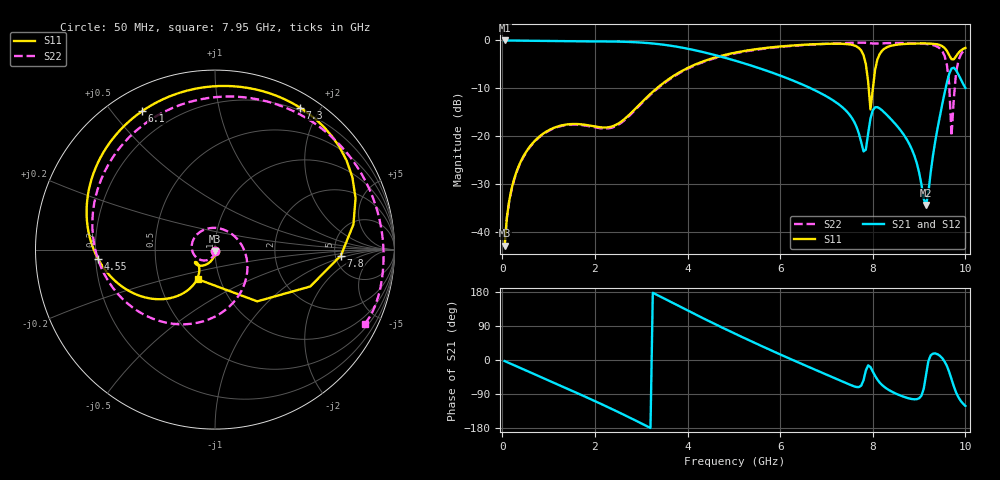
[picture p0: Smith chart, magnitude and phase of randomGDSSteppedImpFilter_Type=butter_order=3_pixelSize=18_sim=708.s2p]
! freq	dB(S11)	phase(S11)	dB(S12)	phase(S12)
!  dB(S21)	phase(S21)	dB(S22)	phase(S22)
!S-par simulation data
#  GHz  S  DB  R 50
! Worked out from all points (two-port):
!   200 points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, 50 MHz to 10 GHz, reference 50 ohm
!   highest |S21| = -0.02 dB at 50 MHz (marker M1); lowest = -34.3 dB at 9.15 GHz (marker M2)
!   |S21| within 3 dB of the highest: start of sweep to 4.575 GHz
!   lowest |S11| = -42.8 dB at 50 MHz (marker M3), VSWR 1.01, Z = 50.1 - j0.71 ohm
!   |S11| at or under -10 dB: start of sweep to 3.335 GHz; 7.912 GHz to 8.004 GHz (91.83 MHz wide, 1.15 % of centre)
!   |S22| runs from -42.9 to -0.5 dB; largest |S21 - S12| = 0
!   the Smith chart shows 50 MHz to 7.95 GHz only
!   S11 on the Smith chart (normalised r, x): 50 MHz: 1.00, -0.01; 4.55 GHz: 0.21, -0.04; 6.1 GHz: 0.09, +0.60; 7.3 GHz: 0.17, +1.75; 7.8 GHz: 5.61, -0.73; 7.95 GHz: 0.79, -0.27
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0.05  -42.82 -78.5  -0.02 -2.8  -0.02 -2.8  -42.90 -79.6
0.2  -30.99 -93.8  -0.04 -10.9  -0.04 -10.9  -31.10 -99.0
0.5  -23.46 -109.1  -0.07 -27.1  -0.07 -27.1  -23.58 -122.4
1.75  -17.55 -147.6  -0.20 -94.6  -0.20 -94.6  -17.69 137.7
2.7  -15.88 -123.8  -0.31 -149.0  -0.31 -149.0  -16.11 4.1
3.4  -9.48 -129.3  -0.81 168.1  -0.81 168.1  -9.65 -76.5
4.55  -3.70 -175.4  -2.96 97.3  -2.96 97.3  -3.84 -171.3
5.05  -2.52 162.9  -4.29 68.0  -4.29 68.0  -2.65 152.0
6.1  -1.19 117.7  -7.70 9.3  -7.70 9.3  -1.28 79.8
6.7  -0.82 90.8  -10.17 -22.7  -10.17 -22.7  -0.86 42.1
7.3  -0.70 59.1  -13.59 -54.3  -13.59 -54.3  -0.60 7.8
7.8  -3.07 -2.7  -23.14 -53.7  -23.14 -53.7  -0.48 -18.7
7.95  -14.39 -119.9  -16.30 -18.6  -16.30 -18.6  -0.61 -26.3
8.1  -3.98 101.6  -13.92 -51.8  -13.92 -51.8  -0.65 -32.5
8.35  -1.26 59.8  -15.99 -79.4  -15.99 -79.4  -0.57 -43.7
8.85  -0.67 25.8  -22.85 -103.1  -22.85 -103.1  -0.58 -67.0
9.15  -0.64 10.1  -34.31 -39.0  -34.31 -39.0  -0.74 -82.9
9.55  -1.57 -14.3  -11.00 -3.7  -11.00 -3.7  -3.21 -123.0
9.65  -3.08 -18.3  -6.98 -31.3  -6.98 -31.3  -9.13 -144.3
9.7  -3.92 -14.5  -5.87 -50.3  -5.87 -50.3  -19.93 -120.1
9.8  -3.29 -4.5  -6.24 -85.8  -6.24 -85.8  -6.59 -41.0
10  -1.57 -11.6  -9.91 -121.2  -9.91 -121.2  -1.85 -72.0
